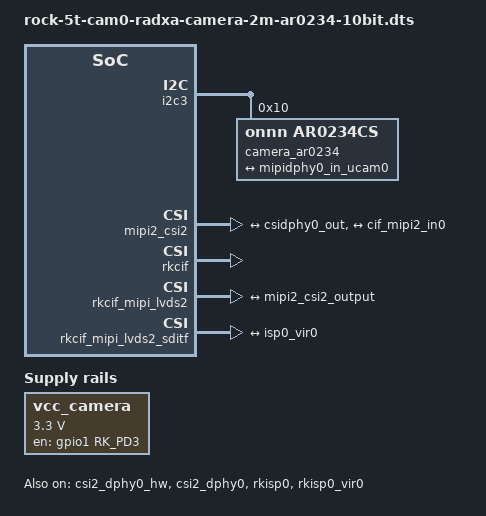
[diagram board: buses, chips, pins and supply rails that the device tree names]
/dts-v1/;
/plugin/;

#include <dt-bindings/gpio/gpio.h>
#include <dt-bindings/pinctrl/rockchip.h>

/ {
	metadata {
		title = "Enable Radxa Camera 2M AR0234 with RAW10 format on CAM0";
		compatible = "radxa,rock-5t";
		category = "camera";
		exclusive = "GPIO1_D3", "csi2_dphy0", "i2c3";
		description = "Enable Radxa Camera 2M AR0234 with RAW10 format on CAM0.";
	};
};

&{/} {
	vcc_camera: vcc-camera {
		status = "okay";
		compatible = "regulator-fixed";
		regulator-name = "vcc_camera";
		gpio = <&gpio1 RK_PD3 GPIO_ACTIVE_HIGH>;
		enable-active-high;
		regulator-min-microvolt = <3300000>;
		regulator-max-microvolt = <3300000>;
		regulator-always-on;
	};
};

&i2c3 {
	status = "okay";
	#address-cells = <1>;
	#size-cells = <0>;

	camera_ar0234: camera-ar0234@10 {
		status = "okay";
		compatible = "onnn,ar0234cs";
		reg = <0x10>;
		rockchip,camera-module-index = <0>;
		rockchip,camera-module-facing = "back";
		rockchip,camera-module-name = "default";
		rockchip,camera-module-lens-name = "default";

		port {
			ar0234_out0: endpoint {
				remote-endpoint = <&mipidphy0_in_ucam0>;
				data-lanes = <1 2 3 4>;
				link-frequencies = /bits/ 64 <450000000>;
			};
		};
	};
};

&csi2_dphy0_hw {
	status = "okay";
};

&csi2_dphy0 {
	status = "okay";

	ports {
		#address-cells = <1>;
		#size-cells = <0>;

		port@0 {
			reg = <0>;
			#address-cells = <1>;
			#size-cells = <0>;

			mipidphy0_in_ucam0: endpoint@1 {
				reg = <1>;
				remote-endpoint = <&ar0234_out0>;
				data-lanes = <1 2 3 4>;
			};
		};

		port@1 {
			reg = <1>;
			#address-cells = <1>;
			#size-cells = <0>;

			csidphy0_out: endpoint@0 {
				reg = <0>;
				remote-endpoint = <&mipi2_csi2_input>;
			};
		};
	};
};

&mipi2_csi2 {
	status = "okay";

	ports {
		#address-cells = <1>;
		#size-cells = <0>;

		port@0 {
			reg = <0>;
			#address-cells = <1>;
			#size-cells = <0>;

			mipi2_csi2_input: endpoint@1 {
				reg = <1>;
				remote-endpoint = <&csidphy0_out>;
			};
		};

		port@1 {
			reg = <1>;
			#address-cells = <1>;
			#size-cells = <0>;

			mipi2_csi2_output: endpoint@0 {
				reg = <0>;
				remote-endpoint = <&cif_mipi2_in0>;
			};
		};
	};
};

&rkcif {
	status = "okay";
};

&rkcif_mipi_lvds2 {
	status = "okay";

	port {
		cif_mipi2_in0: endpoint {
			remote-endpoint = <&mipi2_csi2_output>;
		};
	};
};

&rkcif_mipi_lvds2_sditf {
	status = "okay";

	port {
		mipi_lvds2_sditf: endpoint {
			remote-endpoint = <&isp0_vir0>;
		};
	};
};

&rkcif_mmu {
	status = "okay";
};

&isp0_mmu {
	status = "okay";
};

&rkisp0 {
	status = "okay";
};

&rkisp0_vir0 {
	status = "okay";

	port {
		#address-cells = <1>;
		#size-cells = <0>;

		isp0_vir0: endpoint@0 {
			reg = <0>;
			remote-endpoint = <&mipi_lvds2_sditf>;
		};
	};
};
